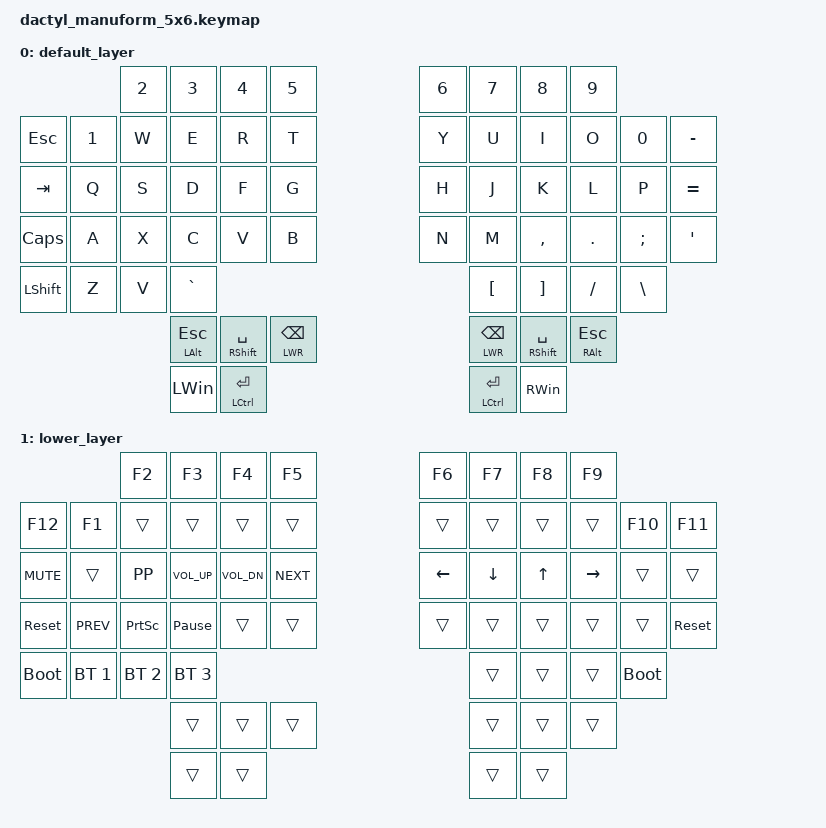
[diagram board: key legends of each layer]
#include <behaviors.dtsi>
#include <dt-bindings/zmk/keys.h>
#include <dt-bindings/zmk/bt.h>
#include <dt-bindings/zmk/outputs.h>

#define DEFAULT 0
#define LWR 1

/ {
    keymap {
        compatible = "zmk,keymap";

        default_layer {
            bindings = <
                                  &kp N2 &kp N3    &kp N4    &kp N5                        &kp N6   &kp N7   &kp N8     &kp N9
                &kp ESC    &kp N1 &kp W  &kp E     &kp R     &kp T                         &kp Y    &kp U    &kp I      &kp O   &kp N0   &kp MINUS
                &kp TAB    &kp Q  &kp S  &kp D     &kp F     &kp G                         &kp H    &kp J    &kp K      &kp L   &kp P    &kp EQUAL
                &kp CAPS   &kp A  &kp X  &kp C     &kp V     &kp B                         &kp N    &kp M    &kp COMMA  &kp DOT &kp SEMI &kp SQT
                &kp LSHIFT &kp Z  &kp V  &kp GRAVE                                                  &kp LBKT &kp RBKT  &kp FSLH &kp BSLH
                                         &mt LALT ESC &mt RSHIFT SPACE &lt LWR BSPC     &lt LWR BSPC &mt RSHIFT SPACE &mt RALT ESC
                                              &kp LWIN &mt LCTRL ENTER                        &mt LCTRL ENTER &kp RWIN
            >;
        };

        lower_layer {
            bindings = <
                                    &kp F2       &kp F3       &kp F4  &kp F5              &kp F6 &kp F7   &kp F8   &kp F9 
                &kp F12     &kp F1  &trans       &trans       &trans  &trans              &trans &trans   &trans   &trans &kp F10   &kp F11
                &kp K_MUTE &trans &kp K_PP &kp K_VOL_UP &kp K_VOL_DN &kp K_NEXT           &kp LEFT &kp DOWN &kp UP &kp RIGHT &trans &trans 
                &sys_reset  &kp K_PREV &kp PSCRN &kp PAUSE_BREAK &trans  &trans           &trans &trans   &trans   &trans &trans    &sys_reset
                &bootloader &bt BT_SEL 1  &bt BT_SEL 2  &bt BT_SEL 3                                      &trans   &trans &trans    &bootloader
                                                 &trans  &trans &trans                    &trans &trans   &trans
                                                         &trans &trans                    &trans &trans
            >;
        };
    };
};
